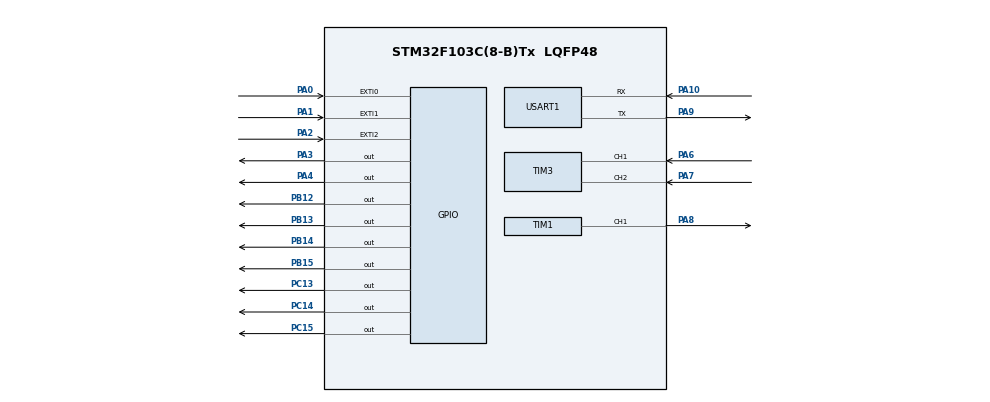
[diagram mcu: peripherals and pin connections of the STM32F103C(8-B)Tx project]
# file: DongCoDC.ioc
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Mcu.Family=STM32F1
Mcu.Name=STM32F103C(8-B)Tx
Mcu.Package=LQFP48
NVIC.EXTI0_IRQn=true\:2\:0\:true\:false\:true\:true\:true\:true
NVIC.EXTI1_IRQn=true\:2\:0\:true\:false\:true\:true\:true\:true
NVIC.EXTI2_IRQn=true\:2\:0\:true\:false\:true\:true\:true\:true
NVIC.PriorityGroup=NVIC_PRIORITYGROUP_4
PA0-WKUP.GPIO_ModeDefaultEXTI=GPIO_MODE_IT_FALLING
PA0-WKUP.GPIO_PuPd=GPIO_PULLUP
PA0-WKUP.Signal=GPXTI0
PA1.GPIO_ModeDefaultEXTI=GPIO_MODE_IT_FALLING
PA1.GPIO_PuPd=GPIO_PULLUP
PA1.Signal=GPXTI1
PA10.Mode=Asynchronous
PA10.Signal=USART1_RX
PA13.Signal=SYS_JTMS-SWDIO
PA2.GPIO_ModeDefaultEXTI=GPIO_MODE_IT_FALLING
PA2.GPIO_PuPd=GPIO_PULLUP
PA2.Signal=GPXTI2
PA3.Signal=GPIO_Output
PA4.Signal=GPIO_Output
PA6.Signal=S_TIM3_CH1
PA7.Signal=S_TIM3_CH2
PA8.Signal=S_TIM1_CH1
PA9.Mode=Asynchronous
PA9.Signal=USART1_TX
PB12.Signal=GPIO_Output
PB13.Signal=GPIO_Output
PB14.Signal=GPIO_Output
PB15.Signal=GPIO_Output
PC13-TAMPER-RTC.Signal=GPIO_Output
PC14-OSC32_IN.Signal=GPIO_Output
PC15-OSC32_OUT.Signal=GPIO_Output
PD0-OSC_IN.Signal=RCC_OSC_IN
PD1-OSC_OUT.Signal=RCC_OSC_OUT
ProjectManager.HeapSize=0x200
ProjectManager.StackSize=0x400
ProjectManager.TargetToolchain=STM32CubeIDE
RCC.APB1Freq_Value=8000000
RCC.APB2Freq_Value=8000000
SH.S_TIM1_CH1.0=TIM1_CH1,PWM Generation1 CH1
SH.S_TIM3_CH1.0=TIM3_CH1,Encoder_Interface
SH.S_TIM3_CH2.0=TIM3_CH2,Encoder_Interface
TIM1.Channel-PWM\ Generation1\ CH1=TIM_CHANNEL_1
TIM1.Period=999
TIM1.Prescaler=159
USART1.VirtualMode=VM_ASYNC
VP_SYS_VS_ND.Mode=No_Debug
VP_TIM1_VS_ClockSourceINT.Mode=Internal
board=custom

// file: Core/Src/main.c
	/* USER CODE BEGIN Header */
/**
  ******************************************************************************
  * @file           : main.c
  * @brief          : Main program body
  ******************************************************************************
  * @attention
  *
  * Copyright (c) 2026 STMicroelectronics.
  * All rights reserved.
  *
  * This software is licensed under terms that can be found in the LICENSE file
  * in the root directory of this software component.
  * If no LICENSE file comes with this software, it is provided AS-IS.
  *
  ******************************************************************************
  */
/* USER CODE END Header */
#include "main.h"

/* USER CODE BEGIN Includes */
#include "stdio.h"
#include "lcd_16x2.h"
#include "pid.h"
#include "string.h"
/* USER CODE END Includes */

TIM_HandleTypeDef htim1;
TIM_HandleTypeDef htim3;

UART_HandleTypeDef huart1;

/* USER CODE BEGIN PV */
float speed_filtered = 0;
uint16_t pwm = 0;
uint16_t var;
int32_t encoder_cnt_pre = 0;
int32_t encoder_cnt = 0;
int32_t delta = 0;
char msg[30];
/* USER CODE END PV */

void SystemClock_Config(void);
static void MX_GPIO_Init(void);
static void MX_TIM1_Init(void);
static void MX_TIM3_Init(void);
static void MX_USART1_UART_Init(void);

int main(void)
{

  /* MCU Configuration--------------------------------------------------------*/

  /* Reset of all peripherals, Initializes the Flash interface and the Systick. */
  HAL_Init();

  /* USER CODE BEGIN Init */
Lcd_Init();
  /* USER CODE END Init */

  /* Configure the system clock */
  SystemClock_Config();

  /* Initialize all configured peripherals */
  /* USER CODE BEGIN 2 */
  MX_GPIO_Init();
  MX_TIM1_Init();
  MX_TIM3_Init();
  MX_USART1_UART_Init();
  HAL_TIM_PWM_Start(&htim1, TIM_CHANNEL_1);
  HAL_TIM_Encoder_Start(&htim3, TIM_CHANNEL_1|TIM_CHANNEL_2);
  Lcd_Init();
  /* USER CODE END 2 */

  /* Infinite loop */
  /* USER CODE BEGIN WHILE */
  while (1)
  {
      HAL_Delay(100);

      encoder_cnt = __HAL_TIM_GET_COUNTER(&htim3);

      delta = (int16_t)(encoder_cnt - encoder_cnt_pre);

      if(delta < 0)
          delta = -delta;

      encoder_cnt_pre = encoder_cnt;

      speed_filtered = (speed_filtered * 0.9f) + (delta * 0.1f);

      int speed_display = (int)(speed_filtered * 10);

      sprintf(msg,"Speed:%d\r\n",speed_display);
      HAL_UART_Transmit(&huart1,(uint8_t*)msg,strlen(msg),100);

      Lcd_clear_xy(0,0);

      Lcd_gotoxy(0,0);
      Lcd_write_string("Speed:");

      Lcd_gotoxy(7,0);
      Lcd_write_int(speed_display);
  }
   /* USER CODE END 3 */
  }

  void SystemClock_Config(void)
  {
  RCC_OscInitTypeDef RCC_OscInitStruct = {0};
  RCC_ClkInitTypeDef RCC_ClkInitStruct = {0};

  /** Initializes the RCC Oscillators according to the specified parameters
  * in the RCC_OscInitTypeDef structure.
  */
  RCC_OscInitStruct.OscillatorType = RCC_OSCILLATORTYPE_HSI;
  RCC_OscInitStruct.HSIState = RCC_HSI_ON;
  RCC_OscInitStruct.HSICalibrationValue = RCC_HSICALIBRATION_DEFAULT;
  RCC_OscInitStruct.PLL.PLLState = RCC_PLL_NONE;
  if (HAL_RCC_OscConfig(&RCC_OscInitStruct) != HAL_OK)
  {
    Error_Handler();
  }

  /** Initializes the CPU, AHB and APB buses clocks
  */
  RCC_ClkInitStruct.ClockType = RCC_CLOCKTYPE_HCLK|RCC_CLOCKTYPE_SYSCLK
                              |RCC_CLOCKTYPE_PCLK1|RCC_CLOCKTYPE_PCLK2;
  RCC_ClkInitStruct.SYSCLKSource = RCC_SYSCLKSOURCE_HSI;
  RCC_ClkInitStruct.AHBCLKDivider = RCC_SYSCLK_DIV1;
  RCC_ClkInitStruct.APB1CLKDivider = RCC_HCLK_DIV1;
  RCC_ClkInitStruct.APB2CLKDivider = RCC_HCLK_DIV1;

  if (HAL_RCC_ClockConfig(&RCC_ClkInitStruct, FLASH_LATENCY_0) != HAL_OK)
  {
    Error_Handler();
  }
}

static void MX_TIM1_Init(void)
{

  TIM_ClockConfigTypeDef sClockSourceConfig = {0};
  TIM_MasterConfigTypeDef sMasterConfig = {0};
  TIM_OC_InitTypeDef sConfigOC = {0};
  TIM_BreakDeadTimeConfigTypeDef sBreakDeadTimeConfig = {0};

  htim1.Instance = TIM1;
  htim1.Init.Prescaler = 159;
  htim1.Init.CounterMode = TIM_COUNTERMODE_UP;
  htim1.Init.Period = 999;
  htim1.Init.ClockDivision = TIM_CLOCKDIVISION_DIV1;
  htim1.Init.RepetitionCounter = 0;
  htim1.Init.AutoReloadPreload = TIM_AUTORELOAD_PRELOAD_DISABLE;
  if (HAL_TIM_Base_Init(&htim1) != HAL_OK)
  {
    Error_Handler();
  }
  sClockSourceConfig.ClockSource = TIM_CLOCKSOURCE_INTERNAL;
  if (HAL_TIM_ConfigClockSource(&htim1, &sClockSourceConfig) != HAL_OK)
  {
    Error_Handler();
  }
  if (HAL_TIM_PWM_Init(&htim1) != HAL_OK)
  {
    Error_Handler();
  }
  sMasterConfig.MasterOutputTrigger = TIM_TRGO_RESET;
  sMasterConfig.MasterSlaveMode = TIM_MASTERSLAVEMODE_DISABLE;
  if (HAL_TIMEx_MasterConfigSynchronization(&htim1, &sMasterConfig) != HAL_OK)
  {
    Error_Handler();
  }
  sConfigOC.OCMode = TIM_OCMODE_PWM1;
  sConfigOC.Pulse = 0;
  sConfigOC.OCPolarity = TIM_OCPOLARITY_HIGH;
  sConfigOC.OCNPolarity = TIM_OCNPOLARITY_HIGH;
  sConfigOC.OCFastMode = TIM_OCFAST_DISABLE;
  sConfigOC.OCIdleState = TIM_OCIDLESTATE_RESET;
  sConfigOC.OCNIdleState = TIM_OCNIDLESTATE_RESET;
  if (HAL_TIM_PWM_ConfigChannel(&htim1, &sConfigOC, TIM_CHANNEL_1) != HAL_OK)
  {
    Error_Handler();
  }
  sBreakDeadTimeConfig.OffStateRunMode = TIM_OSSR_DISABLE;
  sBreakDeadTimeConfig.OffStateIDLEMode = TIM_OSSI_DISABLE;
  sBreakDeadTimeConfig.LockLevel = TIM_LOCKLEVEL_OFF;
  sBreakDeadTimeConfig.DeadTime = 0;
  sBreakDeadTimeConfig.BreakState = TIM_BREAK_DISABLE;
  sBreakDeadTimeConfig.BreakPolarity = TIM_BREAKPOLARITY_HIGH;
  sBreakDeadTimeConfig.AutomaticOutput = TIM_AUTOMATICOUTPUT_DISABLE;
  if (HAL_TIMEx_ConfigBreakDeadTime(&htim1, &sBreakDeadTimeConfig) != HAL_OK)
  {
    Error_Handler();
  }
  HAL_TIM_MspPostInit(&htim1);

}

static void MX_TIM3_Init(void)
{

  TIM_Encoder_InitTypeDef sConfig = {0};
  TIM_MasterConfigTypeDef sMasterConfig = {0};

  htim3.Instance = TIM3;
  htim3.Init.Prescaler = 0;
  htim3.Init.CounterMode = TIM_COUNTERMODE_UP;
  htim3.Init.Period = 65535;
  htim3.Init.ClockDivision = TIM_CLOCKDIVISION_DIV1;
  htim3.Init.AutoReloadPreload = TIM_AUTORELOAD_PRELOAD_DISABLE;
  sConfig.EncoderMode = TIM_ENCODERMODE_TI12;
  sConfig.IC1Polarity = TIM_ICPOLARITY_RISING;
  sConfig.IC1Selection = TIM_ICSELECTION_DIRECTTI;
  sConfig.IC1Prescaler = TIM_ICPSC_DIV1;
  sConfig.IC1Filter = 0;
  sConfig.IC2Polarity = TIM_ICPOLARITY_RISING;
  sConfig.IC2Selection = TIM_ICSELECTION_DIRECTTI;
  sConfig.IC2Prescaler = TIM_ICPSC_DIV1;
  sConfig.IC2Filter = 0;
  if (HAL_TIM_Encoder_Init(&htim3, &sConfig) != HAL_OK)
  {
    Error_Handler();
  }
  sMasterConfig.MasterOutputTrigger = TIM_TRGO_RESET;
  sMasterConfig.MasterSlaveMode = TIM_MASTERSLAVEMODE_DISABLE;
  if (HAL_TIMEx_MasterConfigSynchronization(&htim3, &sMasterConfig) != HAL_OK)
  {
    Error_Handler();
  }

}

static void MX_USART1_UART_Init(void)
{

  huart1.Instance = USART1;
  huart1.Init.BaudRate = 115200;
  huart1.Init.WordLength = UART_WORDLENGTH_8B;
  huart1.Init.StopBits = UART_STOPBITS_1;
  huart1.Init.Parity = UART_PARITY_NONE;
  huart1.Init.Mode = UART_MODE_TX_RX;
  huart1.Init.HwFlowCtl = UART_HWCONTROL_NONE;
  huart1.Init.OverSampling = UART_OVERSAMPLING_16;
  if (HAL_UART_Init(&huart1) != HAL_OK)
  {
    Error_Handler();
  }

}

static void MX_GPIO_Init(void)
{
  GPIO_InitTypeDef GPIO_InitStruct = {0};

  /* GPIO Ports Clock Enable */
  __HAL_RCC_GPIOC_CLK_ENABLE();
  __HAL_RCC_GPIOD_CLK_ENABLE();
  __HAL_RCC_GPIOA_CLK_ENABLE();
  __HAL_RCC_GPIOB_CLK_ENABLE();

  /*Configure GPIO pin Output Level */
  HAL_GPIO_WritePin(GPIOC, GPIO_PIN_13|GPIO_PIN_14|GPIO_PIN_15, GPIO_PIN_RESET);

  /*Configure GPIO pin Output Level */
  HAL_GPIO_WritePin(GPIOA, GPIO_PIN_3|GPIO_PIN_4, GPIO_PIN_RESET);

  /*Configure GPIO pin Output Level */
  HAL_GPIO_WritePin(GPIOB, GPIO_PIN_12|GPIO_PIN_13|GPIO_PIN_14|GPIO_PIN_15, GPIO_PIN_RESET);

  /*Configure GPIO pins : PC13 PC14 PC15 */
  GPIO_InitStruct.Pin = GPIO_PIN_13|GPIO_PIN_14|GPIO_PIN_15;
  GPIO_InitStruct.Mode = GPIO_MODE_OUTPUT_PP;
  GPIO_InitStruct.Pull = GPIO_NOPULL;
  GPIO_InitStruct.Speed = GPIO_SPEED_FREQ_LOW;
  HAL_GPIO_Init(GPIOC, &GPIO_InitStruct);

  /*Configure GPIO pins : PA0 PA1 PA2 */
  GPIO_InitStruct.Pin = GPIO_PIN_0|GPIO_PIN_1|GPIO_PIN_2;
  GPIO_InitStruct.Mode = GPIO_MODE_IT_FALLING;
  GPIO_InitStruct.Pull = GPIO_PULLUP;
  HAL_GPIO_Init(GPIOA, &GPIO_InitStruct);

  /*Configure GPIO pins : PA3 PA4 */
  GPIO_InitStruct.Pin = GPIO_PIN_3|GPIO_PIN_4;
  GPIO_InitStruct.Mode = GPIO_MODE_OUTPUT_PP;
  GPIO_InitStruct.Pull = GPIO_NOPULL;
  GPIO_InitStruct.Speed = GPIO_SPEED_FREQ_LOW;
  HAL_GPIO_Init(GPIOA, &GPIO_InitStruct);

  /*Configure GPIO pins : PB12 PB13 PB14 PB15 */
  GPIO_InitStruct.Pin = GPIO_PIN_12|GPIO_PIN_13|GPIO_PIN_14|GPIO_PIN_15;
  GPIO_InitStruct.Mode = GPIO_MODE_OUTPUT_PP;
  GPIO_InitStruct.Pull = GPIO_NOPULL;
  GPIO_InitStruct.Speed = GPIO_SPEED_FREQ_LOW;
  HAL_GPIO_Init(GPIOB, &GPIO_InitStruct);

  /* EXTI interrupt init*/
  HAL_NVIC_SetPriority(EXTI0_IRQn, 2, 0);
  HAL_NVIC_EnableIRQ(EXTI0_IRQn);

  HAL_NVIC_SetPriority(EXTI1_IRQn, 2, 0);
  HAL_NVIC_EnableIRQ(EXTI1_IRQn);

  HAL_NVIC_SetPriority(EXTI2_IRQn, 2, 0);
  HAL_NVIC_EnableIRQ(EXTI2_IRQn);

}

/* USER CODE END 4 */

void Error_Handler(void)
{
  __disable_irq();
  while (1)
  {
  }
}
